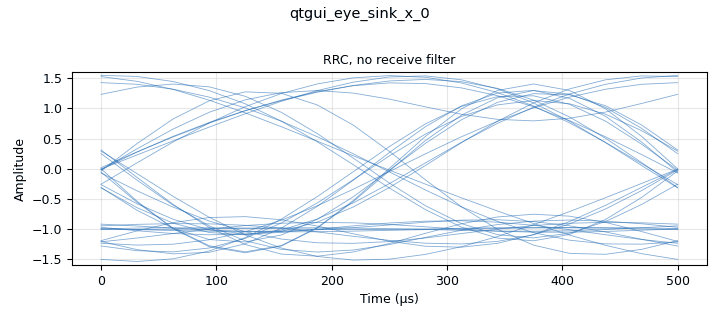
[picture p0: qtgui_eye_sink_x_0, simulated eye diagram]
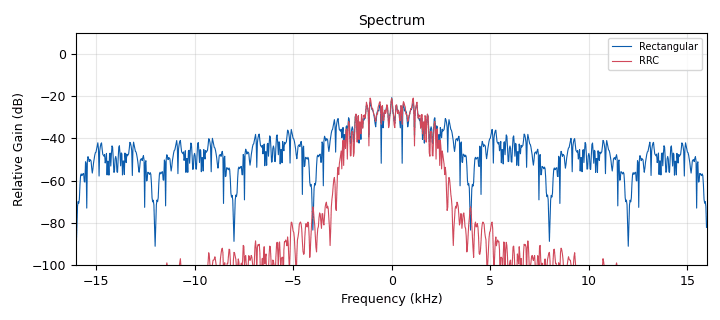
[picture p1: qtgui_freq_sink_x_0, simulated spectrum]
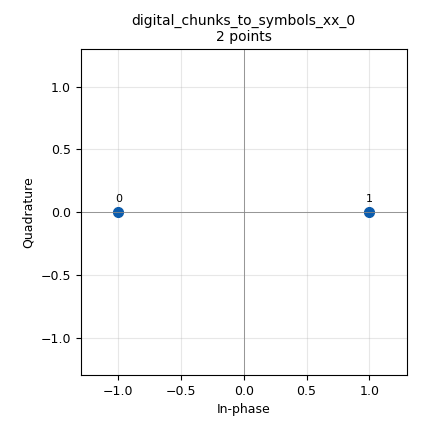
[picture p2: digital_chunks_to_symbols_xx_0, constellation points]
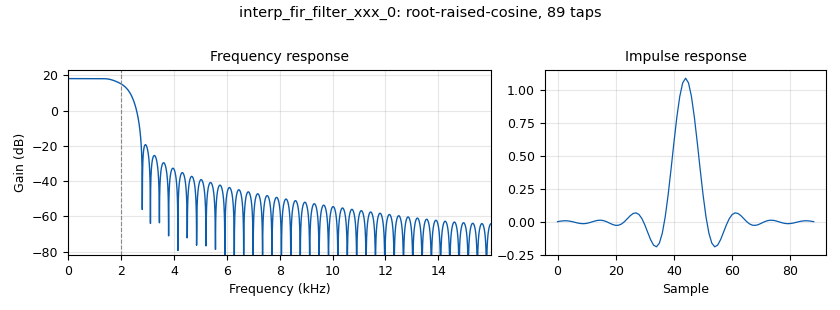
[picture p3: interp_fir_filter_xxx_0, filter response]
options:
  parameters:
    author: ECE 448
    description: 'L9: random 2-PAM symbols shaped two ways, rectangular and root-raised cosine. Compare the spectra, look at the RRC eye, and drag the roll-off.'
    generate_options: qt_gui
    id: L09_pulse_shaping
    output_language: python
    title: L9 - Pulse Shaping
  states: {}

blocks:
- name: alpha
  id: variable_qtgui_range
  parameters:
    gui_hint: 0,0,1,2
    label: RRC roll-off (alpha)
    start: '0.1'
    step: '0.05'
    stop: '1.0'
    value: '0.35'
  states: {}
- name: rrc_taps
  id: variable
  parameters:
    comment: 'Root-raised cosine: gain sps, symbol rate samp_rate/sps, 11 symbols long.'
    value: firdes.root_raised_cosine(sps, samp_rate, samp_rate/sps, alpha, 11*sps)
  states: {}
- name: samp_rate
  id: variable
  parameters:
    value: '32000'
  states: {}
- name: sps
  id: variable
  parameters:
    value: '8'
  states: {}
- name: analog_random_source_x_0
  id: analog_random_source_x
  parameters:
    max: '2'
    min: '0'
    num_samps: '10000'
    repeat: 'True'
    type: byte
  states: {}
- name: blocks_repeat_0
  id: blocks_repeat
  parameters:
    interp: sps
    type: float
  states: {}
- name: blocks_throttle2_0
  id: blocks_throttle2
  parameters:
    samples_per_second: samp_rate/sps
    type: float
  states: {}
- name: digital_chunks_to_symbols_xx_0
  id: digital_chunks_to_symbols_xx
  parameters:
    dimension: '1'
    in_type: byte
    out_type: float
    symbol_table: '[-1, 1]'
  states: {}
- name: interp_fir_filter_xxx_0
  id: interp_fir_filter_xxx
  parameters:
    interp: sps
    taps: rrc_taps
    type: fff
  states: {}
- name: qtgui_eye_sink_x_0
  id: qtgui_eye_sink_x
  parameters:
    color1: red
    gui_hint: 1,1,1,1
    label1: RRC, no receive filter
    samp_per_symbol: sps
    size: '512'
    srate: samp_rate
    type: float
    ymax: '1.6'
    ymin: '-1.6'
  states: {}
- name: qtgui_freq_sink_x_0
  id: qtgui_freq_sink_x
  parameters:
    bw: samp_rate
    fc: '0'
    fftsize: '1024'
    gui_hint: 1,0,1,1
    label1: Rectangular
    label2: RRC
    name: '"Spectrum"'
    nconnections: '2'
    type: float
    ymin: '-100'
  states: {}

connections:
- [analog_random_source_x_0, '0', digital_chunks_to_symbols_xx_0, '0']
- [blocks_repeat_0, '0', qtgui_freq_sink_x_0, '0']
- [blocks_throttle2_0, '0', blocks_repeat_0, '0']
- [blocks_throttle2_0, '0', interp_fir_filter_xxx_0, '0']
- [digital_chunks_to_symbols_xx_0, '0', blocks_throttle2_0, '0']
- [interp_fir_filter_xxx_0, '0', qtgui_eye_sink_x_0, '0']
- [interp_fir_filter_xxx_0, '0', qtgui_freq_sink_x_0, '1']

metadata:
  file_format: 1
  grc_version: 3.10.9.2
